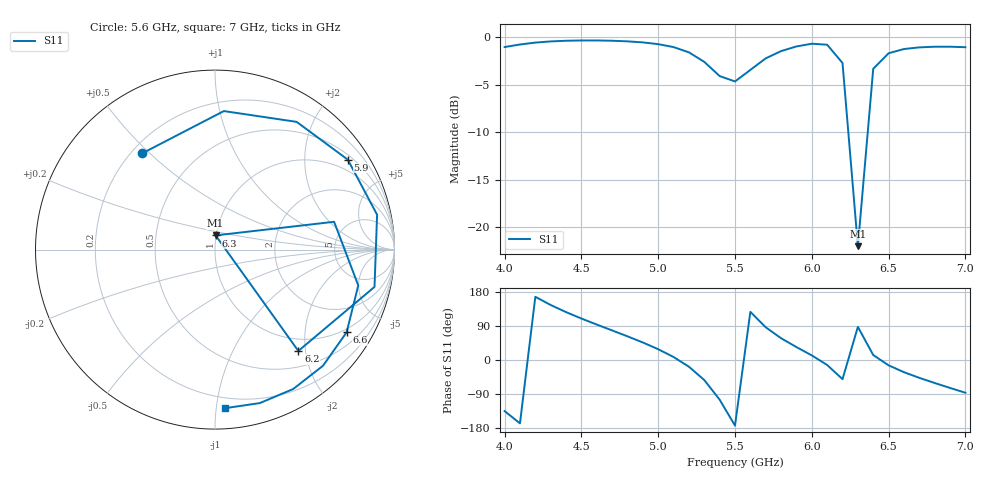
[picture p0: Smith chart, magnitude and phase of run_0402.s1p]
! Touchstone file exported from HFSS 2024.2.0
!  File:  C:/Users/wsak9/Desktop/Sim Fast/Widenad Patch/WP_AI_V1_sweep.aedt
!  Generated:  08:20:00 AM Oct 14, 2026
!  Design:  A1_model
!  Project:  WP_AI_V1_sweep
!  Setup:  Setup1
!  Solution:  Sweep
! Variables:
!  Air_gap = 4.89mm
!  Curve_Amp1 = 3.63
!  Curve_len1 = 1
!  Curve_pos = 9.765mm
!  Extra = 3.64mm
!  H_sub = 0.79mm
!  L_Patch = 15.53mm
!  L_Patch1 = 18.93mm
!  Sx = 4.39mm
!  Sy = 1.09mm
!  WS = 0.66mm
!  W_Patch = 14.76mm
!  W_Patch1 = 15.29mm
!Data is not renormalized
# GHz S MA
! Terminal data exported
! Port[1] = 1
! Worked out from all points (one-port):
!   31 points, 4 GHz to 7 GHz, reference per port
!   lowest |S11| = -22.0 dB at 6.3 GHz (marker M1), VSWR 1.17
!   |S11| at or under -10 dB: 6.238 GHz to 6.364 GHz (126.6 MHz wide, 2.01 % of centre)
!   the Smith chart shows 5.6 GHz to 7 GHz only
!   S11 on the Smith chart (normalised r, x): 5.6 GHz: 0.24, +0.47; 5.9 GHz: 0.63, +3.14; 6.2 GHz: 0.77, -1.86; 6.3 GHz: 0.99, +0.16; 6.6 GHz: 0.88, -3.25; 7 GHz: 0.13, -1.06
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4  0.8871 -134.8
4.1  0.915 -167.2
4.2  0.9364 166.7
4.3  0.95 145.1
4.4  0.9576 126.4
4.5  0.961 109.4
4.6  0.961 93.5
4.8  0.9507 62.5
5  0.919 28.5
5.1  0.8866 7.9
5.2  0.8319 -17.7
5.3  0.7411 -52.9
5.4  0.624 -104.6
5.5  0.5843 -173.1
5.6  0.6722 127.0
5.7  0.7734 86.3
5.8  0.8446 57.4
5.9  0.8936 34.1
6  0.9238 12.1
6.1  0.9127 -13.2
6.2  0.731 -50.6
6.3  0.07924 87.4
6.4  0.6814 13.1
6.5  0.8228 -14.0
6.6  0.8661 -32.1
6.7  0.8836 -47.1
6.8  0.8906 -60.7
7  0.8855 -86.4
